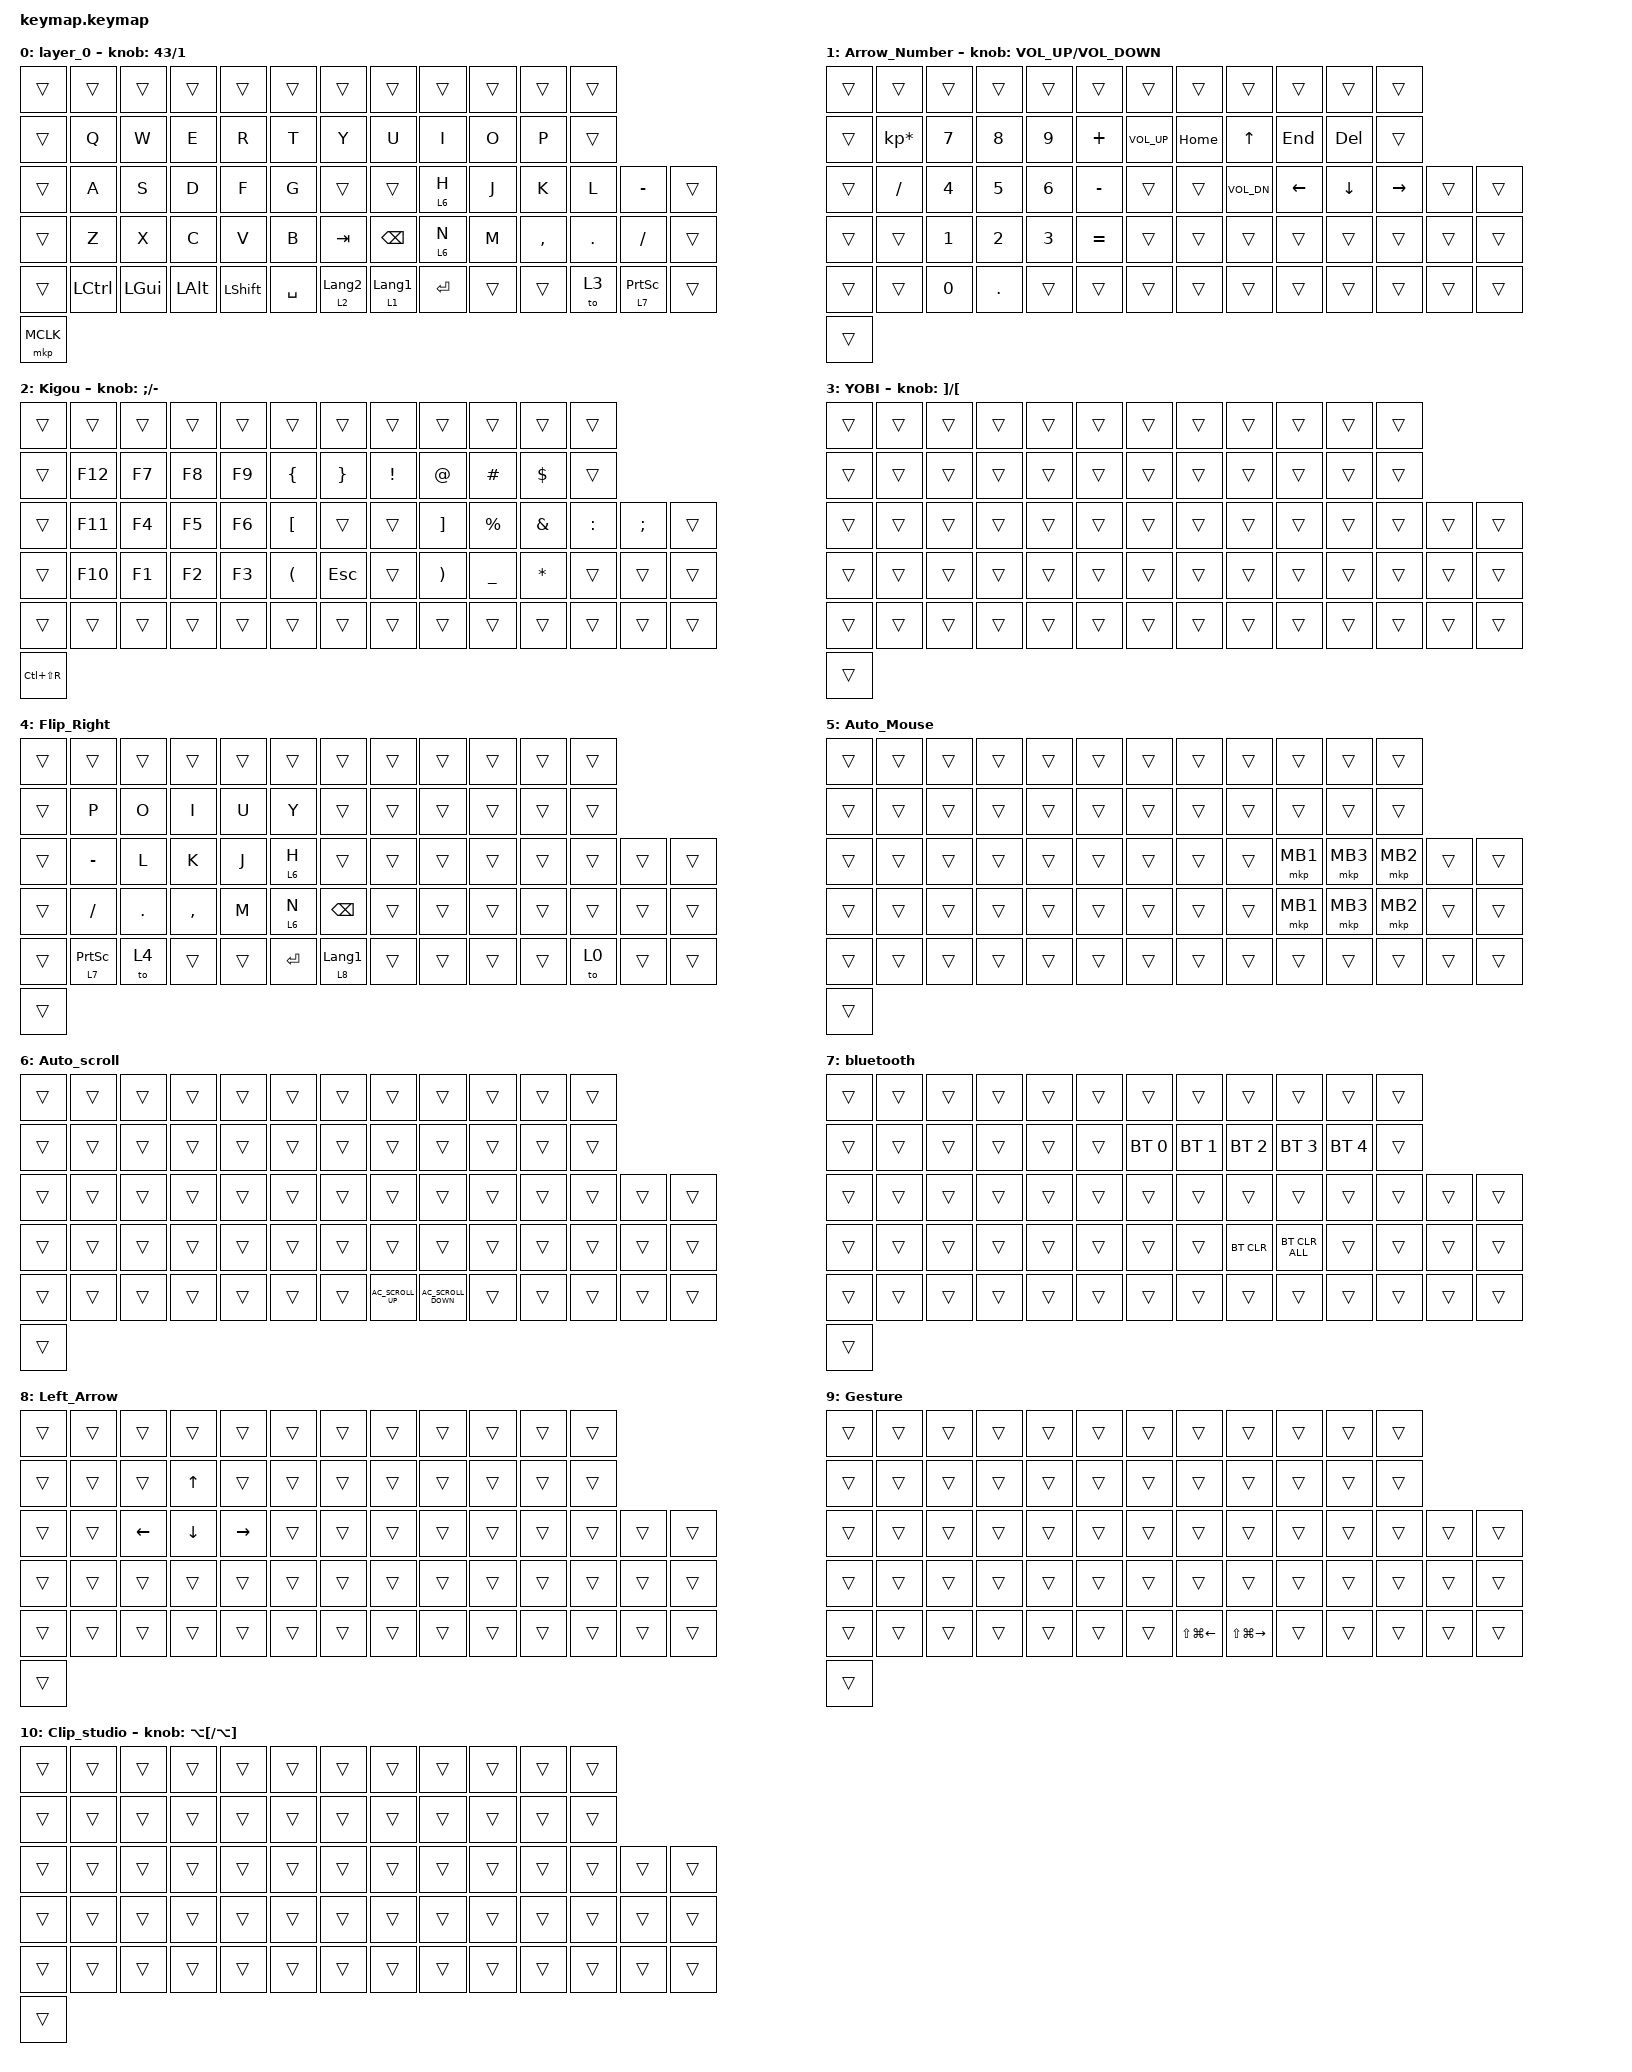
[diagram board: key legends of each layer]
#include <behaviors.dtsi>
#include <dt-bindings/zmk/bt.h>
#include <dt-bindings/zmk/keys.h>
#include <dt-bindings/zmk/pointing.h>
#include <behaviors/hires_dial.dtsi>

/ {
    combos {
        compatible = "zmk,combos";

        mouse_btn4 {
            bindings = <&mkp MB4>;
            key-positions = <34 33>;
        };

        mouse_btn5 {
            bindings = <&mkp MB5>;
            key-positions = <35 34>;
        };

        mouse_btn4_low {
            bindings = <&mkp MB4>;
            key-positions = <47 48>;
        };

        mouse_btn5_low {
            bindings = <&mkp MB5>;
            key-positions = <48 49>;
        };

        layer4_toggle {
            bindings = <&tog 4>;
            key-positions = <26 27 28>;
        };

        tab_combo {
            bindings = <&kp TAB>;
            key-positions = <13 25>;
        };

        esc_combo {
            bindings = <&kp ESC>;
            key-positions = <13 14>;
        };

        layer3_mo {
            bindings = <&mo 3>;
            key-positions = <57 58>;
        };

        layer9_mo {
            bindings = <&mo 9>;
            key-positions = <22 36>;
        };

        layer10_mo {
            bindings = <&mo 10>;
            key-positions = <29 43>;
        };
    };

    macros {
        parenthesis: parenthesis {
            compatible = "zmk,behavior-macro";
            #binding-cells = <0>;
            bindings = <&kp LEFT_PARENTHESIS &kp RIGHT_PARENTHESIS &kp LEFT_ARROW>;
            label = "PARENTHESIS";
        };

        blacket: blacket {
            compatible = "zmk,behavior-macro";
            #binding-cells = <0>;
            bindings = <&kp LEFT_BRACKET &kp RIGHT_BRACKET &kp LEFT_ARROW>;
            label = "BLACKET";
        };

        brace: brace {
            compatible = "zmk,behavior-macro";
            #binding-cells = <0>;
            bindings = <&kp LEFT_BRACE &kp RIGHT_BRACE &kp LEFT>;
            label = "BRACE";
        };
    };

    keymap {
        compatible = "zmk,keymap";

        layer_0 {
            bindings = <
&trans  &trans  &trans  &trans  &trans  &trans  &trans  &trans  &trans  &trans  &trans  &trans
&trans  &kp Q  &kp W  &kp E  &kp R  &kp T  &kp Y  &kp U  &kp I  &kp O  &kp P  &trans
&trans  &kp A  &kp S  &kp D  &kp F  &kp G  &trans  &trans  &lt 6 H  &kp J  &kp K  &kp L  &kp MINUS  &trans
&trans  &kp Z  &kp X  &kp C  &kp V  &kp B  &kp TAB  &kp BACKSPACE  &lt 6 N  &kp M  &kp COMMA  &kp DOT  &kp SLASH  &trans
&trans  &kp LCTRL  &kp LGUI  &kp LALT  &kp LSHIFT  &kp SPACE  &lt 2 LANGUAGE_2  &lt 1 LANGUAGE_1  &kp ENTER  &trans  &trans  &to 3  &lt 7 PRINTSCREEN  &trans
&mkp MCLK
        >;
        };

        Arrow_Number {
            bindings = <
&trans  &trans  &trans  &trans  &trans  &trans  &trans  &trans  &trans  &trans  &trans  &trans
&trans  &kp KP_MULTIPLY  &kp N7  &kp N8  &kp N9  &kp PLUS  &kp C_VOLUME_UP  &kp HOME  &kp UP_ARROW  &kp END  &kp DELETE  &trans
&trans  &kp SLASH  &kp N4  &kp N5  &kp N6  &kp MINUS  &trans  &trans  &kp C_VOL_DN  &kp LEFT_ARROW  &kp DOWN_ARROW  &kp RIGHT_ARROW  &trans  &trans
&trans  &trans  &kp N1  &kp N2  &kp N3  &kp EQUAL  &trans  &trans  &trans  &trans  &trans  &trans  &trans  &trans
&trans  &trans  &kp N0  &kp DOT  &trans  &trans  &trans  &trans  &trans  &trans  &trans  &trans  &trans  &trans
&trans
        >;
        };

        Kigou {
            bindings = <
&trans  &trans  &trans  &trans  &trans  &trans  &trans  &trans  &trans  &trans  &trans  &trans
&trans  &kp F12  &kp F7  &kp F8  &kp F9  &kp LEFT_BRACE  &kp RIGHT_BRACE  &kp EXCLAMATION  &kp AT  &kp HASH  &kp DOLLAR  &trans
&trans  &kp F11  &kp F4  &kp F5  &kp F6  &kp LEFT_BRACKET  &trans  &trans  &kp RIGHT_BRACKET  &kp PERCENT  &kp AMPS  &kp COLON  &kp SEMI  &trans
&trans  &kp F10  &kp F1  &kp F2  &kp F3  &kp LEFT_PARENTHESIS  &kp ESC  &trans  &kp RIGHT_PARENTHESIS  &kp UNDERSCORE  &kp ASTRK  &trans  &trans  &trans
&trans  &trans  &trans  &trans  &trans  &trans  &trans  &trans  &trans  &trans  &trans  &trans  &trans  &trans
&kp LC(LS(R))
        >;
        };

        YOBI {
            bindings = <
&trans  &trans  &trans  &trans  &trans  &trans  &trans  &trans  &trans  &trans  &trans  &trans
&trans  &trans  &trans  &trans  &trans  &trans  &trans  &trans  &trans  &trans  &trans  &trans
&trans  &trans  &trans  &trans  &trans  &trans  &trans  &trans  &trans  &trans  &trans  &trans  &trans  &trans
&trans  &trans  &trans  &trans  &trans  &trans  &trans  &trans  &trans  &trans  &trans  &trans  &trans  &trans
&trans  &trans  &trans  &trans  &trans  &trans  &trans  &trans  &trans  &trans  &trans  &trans  &trans  &trans
&trans
        >;
        };

        Flip_Right {
            bindings = <
&trans  &trans  &trans  &trans  &trans  &trans  &trans  &trans  &trans  &trans  &trans  &trans
&trans  &kp P  &kp O  &kp I  &kp U  &kp Y  &trans  &trans  &trans  &trans  &trans  &trans
&trans  &kp MINUS  &kp L  &kp K  &kp J  &lt 6 H  &trans  &trans  &trans  &trans  &trans  &trans  &trans  &trans
&trans  &kp SLASH  &kp DOT  &kp COMMA  &kp M  &lt 6 N  &kp BACKSPACE  &trans  &trans  &trans  &trans  &trans  &trans  &trans
&trans  &lt 7 PRINTSCREEN  &to 4  &trans  &trans  &kp ENTER  &lt 8 LANGUAGE_1  &trans  &trans  &trans  &trans  &to 0  &trans  &trans
&trans
        >;
        };

        Auto_Mouse {
            bindings = <
&trans  &trans  &trans  &trans  &trans  &trans  &trans  &trans  &trans  &trans  &trans  &trans
&trans  &trans  &trans  &trans  &trans  &trans  &trans  &trans  &trans  &trans  &trans  &trans
&trans  &trans  &trans  &trans  &trans  &trans  &trans  &trans  &trans  &mkp MB1  &mkp MB3  &mkp MB2  &trans  &trans
&trans  &trans  &trans  &trans  &trans  &trans  &trans  &trans  &trans  &mkp MB1  &mkp MB3  &mkp MB2  &trans  &trans
&trans  &trans  &trans  &trans  &trans  &trans  &trans  &trans  &trans  &trans  &trans  &trans  &trans  &trans
&trans
        >;
        };

        Auto_scroll {
            bindings = <
&trans  &trans  &trans  &trans  &trans  &trans  &trans  &trans  &trans  &trans  &trans  &trans
&trans  &trans  &trans  &trans  &trans  &trans  &trans  &trans  &trans  &trans  &trans  &trans
&trans  &trans  &trans  &trans  &trans  &trans  &trans  &trans  &trans  &trans  &trans  &trans  &trans  &trans
&trans  &trans  &trans  &trans  &trans  &trans  &trans  &trans  &trans  &trans  &trans  &trans  &trans  &trans
&trans  &trans  &trans  &trans  &trans  &trans  &trans  &kp C_AC_SCROLL_UP  &kp C_AC_SCROLL_DOWN  &trans  &trans  &trans  &trans  &trans
&trans
        >;
        };

        bluetooth {
            bindings = <
&trans  &trans  &trans  &trans  &trans  &trans  &trans  &trans  &trans  &trans  &trans  &trans
&trans  &trans  &trans  &trans  &trans  &trans  &bt BT_SEL 0  &bt BT_SEL 1  &bt BT_SEL 2  &bt BT_SEL 3  &bt BT_SEL 4  &trans
&trans  &trans  &trans  &trans  &trans  &trans  &trans  &trans  &trans  &trans  &trans  &trans  &trans  &trans
&trans  &trans  &trans  &trans  &trans  &trans  &trans  &trans  &bt BT_CLR  &bt BT_CLR_ALL  &trans  &trans  &trans  &trans
&trans  &trans  &trans  &trans  &trans  &trans  &trans  &trans  &trans  &trans  &trans  &trans  &trans  &trans
&trans
        >;
        };

        Left_Arrow {
            bindings = <
&trans  &trans  &trans  &trans  &trans  &trans  &trans  &trans  &trans  &trans  &trans  &trans
&trans  &trans  &trans  &kp UP_ARROW  &trans  &trans  &trans  &trans  &trans  &trans  &trans  &trans
&trans  &trans  &kp LEFT_ARROW  &kp DOWN  &kp RIGHT_ARROW  &trans  &trans  &trans  &trans  &trans  &trans  &trans  &trans  &trans
&trans  &trans  &trans  &trans  &trans  &trans  &trans  &trans  &trans  &trans  &trans  &trans  &trans  &trans
&trans  &trans  &trans  &trans  &trans  &trans  &trans  &trans  &trans  &trans  &trans  &trans  &trans  &trans
&trans
        >;
        };

        Gesture {
            bindings = <
&trans  &trans  &trans  &trans  &trans  &trans  &trans  &trans  &trans  &trans  &trans  &trans
&trans  &trans  &trans  &trans  &trans  &trans  &trans  &trans  &trans  &trans  &trans  &trans
&trans  &trans  &trans  &trans  &trans  &trans  &trans  &trans  &trans  &trans  &trans  &trans  &trans  &trans
&trans  &trans  &trans  &trans  &trans  &trans  &trans  &trans  &trans  &trans  &trans  &trans  &trans  &trans
&trans  &trans  &trans  &trans  &trans  &trans  &trans  &kp LS(LG(LEFT_ARROW))  &kp LS(LG(RIGHT_ARROW))  &trans  &trans  &trans  &trans  &trans
&trans
        >;
        };

        Clip_studio {
            bindings = <
&trans  &trans  &trans  &trans  &trans  &trans  &trans  &trans  &trans  &trans  &trans  &trans
&trans  &trans  &trans  &trans  &trans  &trans  &trans  &trans  &trans  &trans  &trans  &trans
&trans  &trans  &trans  &trans  &trans  &trans  &trans  &trans  &trans  &trans  &trans  &trans  &trans  &trans
&trans  &trans  &trans  &trans  &trans  &trans  &trans  &trans  &trans  &trans  &trans  &trans  &trans  &trans
&trans  &trans  &trans  &trans  &trans  &trans  &trans  &trans  &trans  &trans  &trans  &trans  &trans  &trans
&trans
        >;
        };

        // Reserved placeholder layers so ZMK Studio's live "add layer" has spare
        // capacity to fill in without a firmware rebuild (see zmk.dev/docs/features/studio,
        // "Including Extra Layers"). These are skipped in normal builds.
        // Keep them LAST: with Studio, any real layer declared after a reserved one is
        // left out of the stock layer order, so its keys and dial never take effect.
        extra2 {
            status = "reserved";
        };

        extra3 {
            status = "reserved";
        };

        extra4 {
            status = "reserved";
        };
};
};

/* === keymap-editor: dial sensor-bindings (auto-generated, safe to regenerate) === */
&{/keymap/layer_0} { sensor-bindings = <&hires_dial_scroll 43 1>; };
&{/keymap/Arrow_Number} { sensor-bindings = <&hires_dial_encoder C_VOLUME_UP C_VOLUME_DOWN>; };
&{/keymap/Kigou} { sensor-bindings = <&hires_dial_encoder SEMI MINUS>; };
&{/keymap/YOBI} { sensor-bindings = <&hires_dial_encoder RIGHT_BRACKET LEFT_BRACKET>; };
&{/keymap/Clip_studio} { sensor-bindings = <&hires_dial_encoder LA(LEFT_BRACKET) LA(RIGHT_BRACKET)>; };
/* === keymap-editor: end dial sensor-bindings === */

